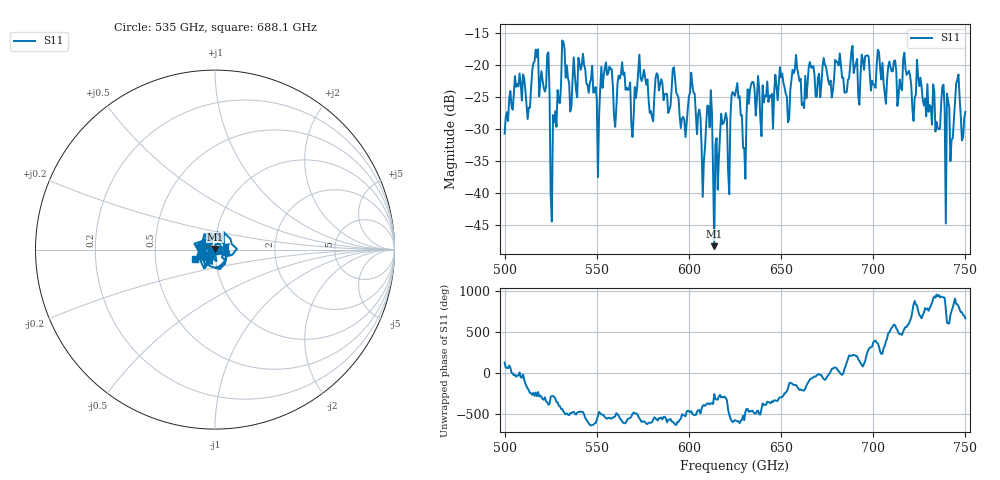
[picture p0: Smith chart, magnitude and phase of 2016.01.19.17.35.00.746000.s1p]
!Created with skrf (http://scikit-rf.org).
# GHz S RI R 50.0
!freq ReS11 ImS11
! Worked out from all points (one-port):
!   401 points, 500 GHz to 750 GHz, reference 50 ohm
!   lowest |S11| = -48.2 dB at 613.8 GHz (marker M1), VSWR 1.01, Z = 49.9 + j0.382 ohm
!   |S11| at or under -10 dB: start of sweep to end of sweep
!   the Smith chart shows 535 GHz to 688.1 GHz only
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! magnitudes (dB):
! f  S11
! 500 GHz  -30.7
! 506.9 GHz  -23.0
! 513.1 GHz  -26.7
! 516.9 GHz  -17.7
! 523.1 GHz  -18.4
! 526.2 GHz  -27.8
! 531.2 GHz  -16.2
! 550 GHz  -25.3
! 553.8 GHz  -21.8
! 562.5 GHz  -22.2
! 570 GHz  -28.2
! 573.8 GHz  -22.0
! 579.4 GHz  -27.2
! 593.8 GHz  -24.7
! 596.9 GHz  -28.1
! 601.9 GHz  -23.2
! 608.1 GHz  -34.9
! 611.2 GHz  -29.7
! 613.8 GHz  -48.2
! 625 GHz  -24.8
! 630 GHz  -33.0
! 634.4 GHz  -22.7
! 656.2 GHz  -20.8
! 687.5 GHz  -20.2
! 718.8 GHz  -21.3
! 740.6 GHz  -25.6
! 745.6 GHz  -22.4
! 750 GHz  -27.3
